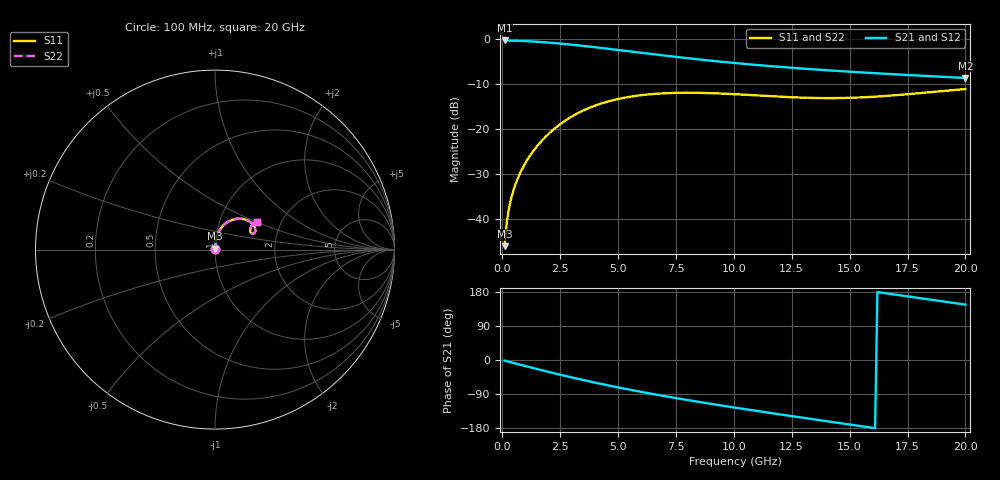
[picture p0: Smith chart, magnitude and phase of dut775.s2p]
! Touchstone file exported from HFSS 2024.1.0
!  File:  C:/UserFiles/LocalFiles/RDL_TSV_Batchsim/temp_RDL_TSV_775_1779903638.aedt
!  Generated:  02:06:39 AM May 28, 2026
!  Design:  RDL_TSV
!  Project:  temp_RDL_TSV_775_1779903638
!  Setup:  Setup1
!  Solution:  Sweep
! Variables:
!  dtsv = 5.11um
!  hbump = 3um
!  htsv = 81.85um
!  ldown = 578.44um
!  lrdl = 354.65um
!  p = 40
!  p1 = 43.85um
!  rhole = 10um
!  subl = 3153.92um
!  t = 450um
!  tdown = 4.12um
!  trdl = 3.74um
!  viad = 10um
!  wdown = 24.31um
!  wrdl = 22.27um
!  xbump = 18um
# GHz S MA R 50.000000
! Terminal data exported
! Port[1] = TM1_1_T1
! Port[2] = TM1_4_T1
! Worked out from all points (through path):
!   200 points, 100 MHz to 20 GHz, reference 50 ohm
!   highest |S21| = -0.25 dB at 100 MHz (marker M1); lowest = -8.6 dB at 20 GHz (marker M2)
!   group delay of S21, straight-line fit = 28.4 ps
!   lowest |S11| = -46.1 dB at 100 MHz (marker M3), VSWR 1.01, Z = 50.1 + j0.487 ohm
!   |S11| at or under -10 dB: start of sweep to end of sweep
!   |S22| runs from -46.2 to -11.1 dB; largest |S21 - S12| = 1e-14
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0.1  0.004942 79.7  0.9711 -1.7  0.9711 -1.7  0.004905 80.0
! Gamma 0 0 0 0
! Port Impedance 50 0 50 0
0.2  0.009443 80.5  0.9696 -3.3  0.9696 -3.3  0.009378 80.8
0.3  0.01358 80.6  0.9681 -5.0  0.9681 -5.0  0.01349 80.9
0.4  0.01754 81.1  0.9666 -6.6  0.9666 -6.6  0.01743 81.3
0.5  0.02145 81.6  0.965 -8.1  0.965 -8.1  0.02133 81.8
0.7  0.02939 82.6  0.9614 -11.3  0.9614 -11.3  0.02924 82.8
1  0.04186 83.3  0.9547 -16.1  0.9547 -16.1  0.04168 83.5
1.5  0.06427 82.5  0.9394 -23.8  0.9394 -23.8  0.06409 82.7
2.1  0.09327 79.3  0.9153 -32.9  0.9153 -32.9  0.09314 79.6
2.8  0.128 73.7  0.8817 -43.2  0.8817 -43.2  0.128 74.0
3.5  0.1609 67.1  0.8443 -52.9  0.8443 -52.9  0.161 67.4
4.2  0.1897 60.3  0.8054 -62.3  0.8054 -62.3  0.19 60.6
5  0.216 52.8  0.7609 -72.3  0.7609 -72.3  0.2164 53.0
5.8  0.2348 46.0  0.718 -81.9  0.718 -81.9  0.2353 46.1
6.8  0.2486 38.5  0.6684 -93.1  0.6684 -93.1  0.2493 38.7
8.4  0.2532 29.5  0.6001 -109.7  0.6001 -109.7  0.2541 29.6
10.1  0.2441 23.9  0.5423 -126.1  0.5423 -126.1  0.2451 24.0
11.7  0.2314 22.4  0.4995 -140.9  0.4995 -140.9  0.2325 22.5
13.4  0.2221 24.3  0.4633 -156.1  0.4633 -156.1  0.2231 24.3
15  0.2227 28.1  0.4355 -170.3  0.4355 -170.3  0.2236 28.0
16.7  0.235 31.9  0.4106 174.8  0.4106 174.8  0.2358 31.8
20  0.2792 33.8  0.3709 146.2  0.3709 146.2  0.2796 33.7
